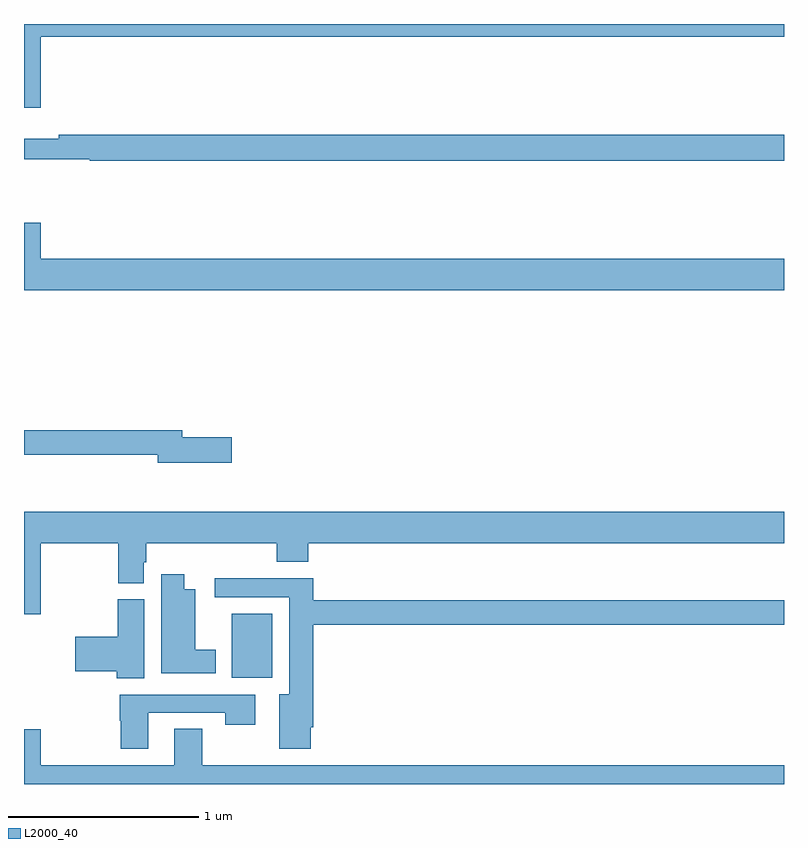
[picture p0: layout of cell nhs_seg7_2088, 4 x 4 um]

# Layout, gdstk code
import gdstk
lib = gdstk.Library(unit=1e-6, precision=1e-09)
def R(c, l, rs):  # rectangles x0, y0, x1, y1
    for r in rs: c.add(gdstk.rectangle(r[:2], r[2:], *l))
def P(c, l, *ps):  # polygons
    for p in ps: c.add(gdstk.Polygon(p, *l))
L2000_40 = (2000, 40)

nhs_seg7_2088 = lib.new_cell('nhs_seg7_2088')
R(nhs_seg7_2088, L2000_40, [(250.094,1014.56,250.306,1014.895)])
P(nhs_seg7_2088, L2000_40, [(249.088,1017.932),(253,1017.932),(253,1018),(249,1018),(249,1017.558),(249.088,1017.558)],
  [(253,1017.416),(249.184,1017.416),(249.184,1017.397),(249,1017.397),(249,1017.288),(249.345,1017.288),(249.345,1017.28),(253,1017.28)],
  [(253,1016.764),(249.088,1016.764),(249.088,1016.953),(249,1016.953),(249,1016.6),(253,1016.6)],
  [(250.093,1015.826),(249.832,1015.826),(249.832,1015.862),(249,1015.862),(249,1015.734),(249.704,1015.734),(249.704,1015.691),(250.093,1015.691)],
  [(249.088,1015.268),(249.496,1015.268),(249.496,1015.057),(249.631,1015.057),(249.631,1015.167),(249.644,1015.167),(249.644,1015.268),(250.331,1015.268),(250.331,1015.169),(250.496,1015.169),(250.496,1015.268),(253,1015.268),(253,1015.432),(249,1015.432),(249,1014.894),(249.088,1014.894)],
  [(250.009,1014.706),(249.901,1014.706),(249.901,1015.024),(249.844,1015.024),(249.844,1015.105),(249.722,1015.105),(249.722,1014.584),(250.009,1014.584)],
  [(250.51,1014.298),(250.523,1014.298),(250.523,1014.838),(253,1014.838),(253,1014.967),(250.523,1014.967),(250.523,1015.082),(250.005,1015.082),(250.005,1014.984),(250.397,1014.984),(250.397,1014.472),(250.343,1014.472),(250.343,1014.186),(250.51,1014.186)],
  [(249.634,1014.972),(249.493,1014.972),(249.493,1014.776),(249.27,1014.776),(249.27,1014.593),(249.488,1014.593),(249.488,1014.556),(249.634,1014.556)],
  [(249.655,1014.375),(250.06,1014.375),(250.06,1014.312),(250.216,1014.312),(250.216,1014.471),(249.503,1014.471),(249.503,1014.333),(249.508,1014.333),(249.508,1014.186),(249.655,1014.186)],
  [(253,1014.1),(249.939,1014.1),(249.939,1014.29),(249.791,1014.29),(249.791,1014.1),(249.088,1014.1),(249.088,1014.289),(249,1014.289),(249,1014),(253,1014)])

lib.write_gds('nhs_seg7_2088.gds')
